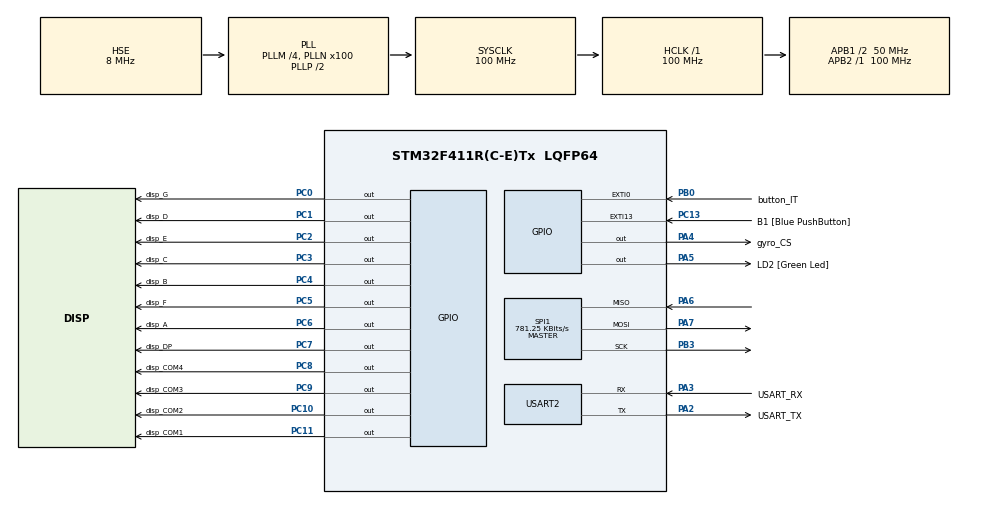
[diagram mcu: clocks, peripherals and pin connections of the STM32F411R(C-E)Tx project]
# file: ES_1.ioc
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Dma.Request0=SPI1_TX
Dma.Request1=SPI1_RX
Dma.SPI1_RX.1.Direction=DMA_PERIPH_TO_MEMORY
Dma.SPI1_RX.1.FIFOMode=DMA_FIFOMODE_DISABLE
Dma.SPI1_RX.1.Instance=DMA2_Stream0
Dma.SPI1_RX.1.MemDataAlignment=DMA_MDATAALIGN_HALFWORD
Dma.SPI1_RX.1.MemInc=DMA_MINC_ENABLE
Dma.SPI1_RX.1.Mode=DMA_NORMAL
Dma.SPI1_RX.1.PeriphDataAlignment=DMA_PDATAALIGN_HALFWORD
Dma.SPI1_RX.1.PeriphInc=DMA_PINC_DISABLE
Dma.SPI1_RX.1.Priority=DMA_PRIORITY_LOW
Dma.SPI1_TX.0.Direction=DMA_MEMORY_TO_PERIPH
Dma.SPI1_TX.0.FIFOMode=DMA_FIFOMODE_DISABLE
Dma.SPI1_TX.0.Instance=DMA2_Stream2
Dma.SPI1_TX.0.MemDataAlignment=DMA_MDATAALIGN_HALFWORD
Dma.SPI1_TX.0.MemInc=DMA_MINC_ENABLE
Dma.SPI1_TX.0.Mode=DMA_NORMAL
Dma.SPI1_TX.0.PeriphDataAlignment=DMA_PDATAALIGN_HALFWORD
Dma.SPI1_TX.0.PeriphInc=DMA_PINC_DISABLE
Dma.SPI1_TX.0.Priority=DMA_PRIORITY_LOW
Mcu.Family=STM32F4
Mcu.Name=STM32F411R(C-E)Tx
Mcu.Package=LQFP64
NVIC.DMA2_Stream0_IRQn=true\:0\:0\:false\:false\:true\:false\:true
NVIC.DMA2_Stream2_IRQn=true\:0\:0\:false\:false\:true\:false\:true
NVIC.EXTI0_IRQn=true\:0\:0\:false\:false\:true\:true\:true
NVIC.PriorityGroup=NVIC_PRIORITYGROUP_4
NVIC.TIM1_UP_TIM10_IRQn=true\:0\:0\:false\:false\:true\:true\:true
PA13.GPIO_Label=TMS
PA13.Mode=Serial_Wire
PA13.Signal=SYS_JTMS-SWDIO
PA14.GPIO_Label=TCK
PA14.Mode=Serial_Wire
PA14.Signal=SYS_JTCK-SWCLK
PA2.GPIO_Label=USART_TX
PA2.Mode=Asynchronous
PA2.Signal=USART2_TX
PA3.GPIO_Label=USART_RX
PA3.Mode=Asynchronous
PA3.Signal=USART2_RX
PA4.GPIO_Label=gyro_CS
PA4.Signal=GPIO_Output
PA5.GPIO_Label=LD2 [Green Led]
PA5.Signal=GPIO_Output
PA6.Mode=Full_Duplex_Master
PA6.Signal=SPI1_MISO
PA7.Mode=Full_Duplex_Master
PA7.Signal=SPI1_MOSI
PB0.GPIO_Label=button_IT
PB0.GPIO_ModeDefaultEXTI=GPIO_MODE_IT_RISING
PB0.GPIO_PuPd=GPIO_PULLUP
PB0.Signal=GPXTI0
PB3.Mode=Full_Duplex_Master
PB3.Signal=SPI1_SCK
PC0.GPIO_Label=disp_G
PC0.Signal=GPIO_Output
PC1.GPIO_Label=disp_D
PC1.Signal=GPIO_Output
PC10.GPIO_Label=disp_COM2
PC10.Signal=GPIO_Output
PC11.GPIO_Label=disp_COM1
PC11.Signal=GPIO_Output
PC13-ANTI_TAMP.GPIO_Label=B1 [Blue PushButton]
PC13-ANTI_TAMP.GPIO_ModeDefaultEXTI=GPIO_MODE_IT_FALLING
PC13-ANTI_TAMP.Signal=GPXTI13
PC14-OSC32_IN.Mode=LSE-External-Oscillator
PC14-OSC32_IN.Signal=RCC_OSC32_IN
PC15-OSC32_OUT.Mode=LSE-External-Oscillator
PC15-OSC32_OUT.Signal=RCC_OSC32_OUT
PC2.GPIO_Label=disp_E
PC2.Signal=GPIO_Output
PC3.GPIO_Label=disp_C
PC3.Signal=GPIO_Output
PC4.GPIO_Label=disp_B
PC4.Signal=GPIO_Output
PC5.GPIO_Label=disp_F
PC5.Signal=GPIO_Output
PC6.GPIO_Label=disp_A
PC6.Signal=GPIO_Output
PC7.GPIO_Label=disp_DP
PC7.Signal=GPIO_Output
PC8.GPIO_Label=disp_COM4
PC8.Signal=GPIO_Output
PC9.GPIO_Label=disp_COM3
PC9.Signal=GPIO_Output
PH0\ -\ OSC_IN.Mode=HSE-External-Clock-Source
PH0\ -\ OSC_IN.Signal=RCC_OSC_IN
PH1\ -\ OSC_OUT.Mode=HSE-External-Clock-Source
PH1\ -\ OSC_OUT.Signal=RCC_OSC_OUT
ProjectManager.HeapSize=0x200
ProjectManager.StackSize=0x400
ProjectManager.TargetToolchain=STM32CubeIDE
RCC.48MHZClocksFreq_Value=50000000
RCC.AHBFreq_Value=100000000
RCC.APB1CLKDivider=RCC_HCLK_DIV2
RCC.APB1Freq_Value=50000000
RCC.APB1TimFreq_Value=100000000
RCC.APB2Freq_Value=100000000
RCC.APB2TimFreq_Value=100000000
RCC.CortexFreq_Value=100000000
RCC.FLatency-AdvancedSettings=FLASH_LATENCY_3
RCC.HCLKFreq_Value=100000000
RCC.HSE_VALUE=8000000
RCC.HSI_VALUE=16000000
RCC.PLLM=4
RCC.PLLN=100
RCC.PLLSourceVirtual=RCC_PLLSOURCE_HSE
RCC.SYSCLKFreq_VALUE=100000000
RCC.SYSCLKSource=RCC_SYSCLKSOURCE_PLLCLK
RCC.VCOOutputFreq_Value=200000000
SPI1.BaudRatePrescaler=SPI_BAUDRATEPRESCALER_128
SPI1.CLKPhase=SPI_PHASE_2EDGE
SPI1.CLKPolarity=SPI_POLARITY_HIGH
SPI1.CalculateBaudRate=781.25 KBits/s
SPI1.DataSize=SPI_DATASIZE_16BIT
SPI1.Direction=SPI_DIRECTION_2LINES
SPI1.Mode=SPI_MODE_MASTER
SPI1.TIMode=SPI_TIMODE_DISABLE
SPI1.VirtualType=VM_MASTER
TIM10.AutoReloadPreload=TIM_AUTORELOAD_PRELOAD_DISABLE
TIM10.Period=49999
TIM10.Prescaler=9
USART2.VirtualMode=VM_ASYNC
VP_TIM10_VS_ClockSourceINT.Mode=Enable_Timer
board=NUCLEO-F411RE

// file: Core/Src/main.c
/* USER CODE BEGIN Header */
/**
  ******************************************************************************
  * @file           : main.c
  * @brief          : Main program body
  ******************************************************************************
  * @attention
  *
  * <h2><center>&copy; Copyright (c) 2020 STMicroelectronics.
  * All rights reserved.</center></h2>
  *
  * This software component is licensed by ST under BSD 3-Clause license,
  * the "License"; You may not use this file except in compliance with the
  * License. You may obtain a copy of the License at:
  *                        opensource.org/licenses/BSD-3-Clause
  *
  ******************************************************************************
  */
/* USER CODE END Header */

#include "main.h"

/* USER CODE BEGIN Includes */
#include<stdio.h>
/* USER CODE END Includes */

/* USER CODE BEGIN PD */
#define FilterN 50
/* USER CODE END PD */

SPI_HandleTypeDef hspi1;
DMA_HandleTypeDef hdma_spi1_tx;
DMA_HandleTypeDef hdma_spi1_rx;

TIM_HandleTypeDef htim10;

UART_HandleTypeDef huart2;

/* USER CODE BEGIN PV */
GPIO_PinState disp_state [4][8];

const uint16_t  setup = 0x20C7; //PD- 1 power delivery - 0-off / 1-on
								//DR- 1 data rate      - 0-100Hz / 1-400hz
								//FS- 0 full scale     - 0-2G range / 1-9G range
								//0-  0 null reg       - must remain 0
								//    C
								//-------------------------------------------------
								//0-  0 null reg       - must remain 0
								//Zen-1 enable Z axis  - 0-off / 1-on
								//Yen-1 enable Y axis  - 0-off / 1-on
								//Xen-1 enable X axis  - 0-off / 1-on
								//    7

const uint16_t  tx_buffer[3] ={0xE900, 0x0000, 0x0000};
volatile int8_t rx_buffer [6];

volatile uint8_t active_axis = 0;
volatile int gyro_read[3];

volatile char msg[50];

char display[4];
volatile int size;

volatile int cnt = 0;
volatile int8_t x_reg[FilterN];
volatile int8_t y_reg[FilterN];
volatile int8_t z_reg[FilterN];

volatile int16_t x_sum=0;
volatile int16_t y_sum=0;
volatile int16_t z_sum=0;

volatile uint8_t index = 0;

/* USER CODE END PV */

void SystemClock_Config(void);
static void MX_GPIO_Init(void);
static void MX_DMA_Init(void);
static void MX_SPI1_Init(void);
static void MX_TIM10_Init(void);
static void MX_USART2_UART_Init(void);
/* USER CODE BEGIN PFP */

void disp_buffer_update(const uint8_t com, const char digit){
  if(com >= 0 && com < 4){
    switch (digit){

    case '0':  //put 0 on <com> port of display buffer
      disp_state[com][0] = GPIO_PIN_SET;
      disp_state[com][1] = GPIO_PIN_SET;
      disp_state[com][2] = GPIO_PIN_SET;
      disp_state[com][3] = GPIO_PIN_SET;
      disp_state[com][4] = GPIO_PIN_SET;
      disp_state[com][5] = GPIO_PIN_SET;
      disp_state[com][6] = GPIO_PIN_RESET;
      break;

    case '1':  //put 1 on <com> port of display buffer
      disp_state[com][0] = GPIO_PIN_RESET;
      disp_state[com][1] = GPIO_PIN_SET;
      disp_state[com][2] = GPIO_PIN_SET;
      disp_state[com][3] = GPIO_PIN_RESET;
      disp_state[com][4] = GPIO_PIN_RESET;
      disp_state[com][5] = GPIO_PIN_RESET;
      disp_state[com][6] = GPIO_PIN_RESET;
      break;

    case '2':  //put 2 on <com> port of display buffer
      disp_state[com][0] = GPIO_PIN_SET;
      disp_state[com][1] = GPIO_PIN_SET;
      disp_state[com][2] = GPIO_PIN_RESET;
      disp_state[com][3] = GPIO_PIN_SET;
      disp_state[com][4] = GPIO_PIN_SET;
      disp_state[com][5] = GPIO_PIN_RESET;
      disp_state[com][6] = GPIO_PIN_SET;
      break;

    case '3':  //put 3 on <com> port of display buffer
      disp_state[com][0] = GPIO_PIN_SET;
      disp_state[com][1] = GPIO_PIN_SET;
      disp_state[com][2] = GPIO_PIN_SET;
      disp_state[com][3] = GPIO_PIN_SET;
      disp_state[com][4] = GPIO_PIN_RESET;
      disp_state[com][5] = GPIO_PIN_RESET;
      disp_state[com][6] = GPIO_PIN_SET;
      break;

    case '4':  //put 4 on <com> port of display buffer
      disp_state[com][0] = GPIO_PIN_RESET;
      disp_state[com][1] = GPIO_PIN_SET;
      disp_state[com][2] = GPIO_PIN_SET;
      disp_state[com][3] = GPIO_PIN_RESET;
      disp_state[com][4] = GPIO_PIN_RESET;
      disp_state[com][5] = GPIO_PIN_SET;
      disp_state[com][6] = GPIO_PIN_SET;
      break;

    case '5':  //put 5 on <com> port of display buffer
      disp_state[com][0] = GPIO_PIN_SET;
      disp_state[com][1] = GPIO_PIN_RESET;
      disp_state[com][2] = GPIO_PIN_SET;
      disp_state[com][3] = GPIO_PIN_SET;
      disp_state[com][4] = GPIO_PIN_RESET;
      disp_state[com][5] = GPIO_PIN_SET;
      disp_state[com][6] = GPIO_PIN_SET;
      break;

    case '6':  //put 6 on <com> port of display buffer
      disp_state[com][0] = GPIO_PIN_SET;
      disp_state[com][1] = GPIO_PIN_RESET;
      disp_state[com][2] = GPIO_PIN_SET;
      disp_state[com][3] = GPIO_PIN_SET;
      disp_state[com][4] = GPIO_PIN_SET;
      disp_state[com][5] = GPIO_PIN_SET;
      disp_state[com][6] = GPIO_PIN_SET;
      break;

    case '7':  //put 7 on <com> port of display buffer
      disp_state[com][0] = GPIO_PIN_SET;
      disp_state[com][1] = GPIO_PIN_SET;
      disp_state[com][2] = GPIO_PIN_SET;
      disp_state[com][3] = GPIO_PIN_RESET;
      disp_state[com][4] = GPIO_PIN_RESET;
      disp_state[com][5] = GPIO_PIN_RESET;
      disp_state[com][6] = GPIO_PIN_RESET;
      break;

    case '8':  //put 8 on <com> port of display buffer
      disp_state[com][0] = GPIO_PIN_SET;
      disp_state[com][1] = GPIO_PIN_SET;
      disp_state[com][2] = GPIO_PIN_SET;
      disp_state[com][3] = GPIO_PIN_SET;
      disp_state[com][4] = GPIO_PIN_SET;
      disp_state[com][5] = GPIO_PIN_SET;
      disp_state[com][6] = GPIO_PIN_SET;
      break;

    case '9':  //put 9 on <com> port of display buffer
      disp_state[com][0] = GPIO_PIN_SET;
      disp_state[com][1] = GPIO_PIN_SET;
      disp_state[com][2] = GPIO_PIN_SET;
      disp_state[com][3] = GPIO_PIN_SET;
      disp_state[com][4] = GPIO_PIN_RESET;
      disp_state[com][5] = GPIO_PIN_SET;
      disp_state[com][6] = GPIO_PIN_SET;
      break;

    case 'o':  //put o on <com> port of display buffer
      disp_state[com][0] = GPIO_PIN_RESET;
	  disp_state[com][1] = GPIO_PIN_RESET;
	  disp_state[com][2] = GPIO_PIN_SET;
	  disp_state[com][3] = GPIO_PIN_SET;
	  disp_state[com][4] = GPIO_PIN_SET;
	  disp_state[com][5] = GPIO_PIN_RESET;
	  disp_state[com][6] = GPIO_PIN_SET;
	  break;

    case '-':  //put '-' on <com> port of display buffer
      disp_state[com][0] = GPIO_PIN_RESET;
      disp_state[com][1] = GPIO_PIN_RESET;
      disp_state[com][2] = GPIO_PIN_RESET;
      disp_state[com][3] = GPIO_PIN_RESET;
      disp_state[com][4] = GPIO_PIN_RESET;
      disp_state[com][5] = GPIO_PIN_RESET;
      disp_state[com][6] = GPIO_PIN_SET;
      break;

    default:
      disp_state[com][0] = GPIO_PIN_RESET;
      disp_state[com][1] = GPIO_PIN_RESET;
      disp_state[com][2] = GPIO_PIN_RESET;
      disp_state[com][3] = GPIO_PIN_RESET;
      disp_state[com][4] = GPIO_PIN_RESET;
      disp_state[com][5] = GPIO_PIN_RESET;
      disp_state[com][6] = GPIO_PIN_RESET;
      break;
    }
  }
}

void put_dot(uint8_t place){
	switch(place){
	case 0:
		disp_state[0][7] = GPIO_PIN_SET;
		disp_state[1][7] = GPIO_PIN_RESET;
		disp_state[2][7] = GPIO_PIN_RESET;
		disp_state[3][7] = GPIO_PIN_RESET;
		break;

	case 1:
		disp_state[0][7] = GPIO_PIN_RESET;
		disp_state[1][7] = GPIO_PIN_SET;
		disp_state[2][7] = GPIO_PIN_RESET;
		disp_state[3][7] = GPIO_PIN_RESET;
		break;

	case 2:
		disp_state[0][7] = GPIO_PIN_RESET;
		disp_state[1][7] = GPIO_PIN_RESET;
		disp_state[2][7] = GPIO_PIN_SET;
		disp_state[3][7] = GPIO_PIN_RESET;
		break;

	case 3:
		disp_state[0][7] = GPIO_PIN_RESET;
		disp_state[1][7] = GPIO_PIN_RESET;
		disp_state[2][7] = GPIO_PIN_RESET;
		disp_state[3][7] = GPIO_PIN_SET;
		break;

	default:
		disp_state[0][7] = GPIO_PIN_RESET;
		disp_state[1][7] = GPIO_PIN_RESET;
		disp_state[2][7] = GPIO_PIN_RESET;
		disp_state[3][7] = GPIO_PIN_RESET;
		break;
	}
}

void switch_disp_com(){
	static uint8_t active_com = 0;

	++active_com;
	if(active_com > 3) active_com = 0;

	switch(active_com){
	case 0:
		HAL_GPIO_WritePin(disp_COM1_GPIO_Port, disp_COM1_Pin, GPIO_PIN_RESET);
		HAL_GPIO_WritePin(disp_COM2_GPIO_Port, disp_COM2_Pin, GPIO_PIN_SET);
		HAL_GPIO_WritePin(disp_COM3_GPIO_Port, disp_COM3_Pin, GPIO_PIN_SET);
		HAL_GPIO_WritePin(disp_COM4_GPIO_Port, disp_COM4_Pin, GPIO_PIN_SET);
		break;

	case 1:
		HAL_GPIO_WritePin(disp_COM1_GPIO_Port, disp_COM1_Pin, GPIO_PIN_SET);
		HAL_GPIO_WritePin(disp_COM2_GPIO_Port, disp_COM2_Pin, GPIO_PIN_RESET);
		HAL_GPIO_WritePin(disp_COM3_GPIO_Port, disp_COM3_Pin, GPIO_PIN_SET);
		HAL_GPIO_WritePin(disp_COM4_GPIO_Port, disp_COM4_Pin, GPIO_PIN_SET);
		break;

	case 2:
		HAL_GPIO_WritePin(disp_COM1_GPIO_Port, disp_COM1_Pin, GPIO_PIN_SET);
		HAL_GPIO_WritePin(disp_COM2_GPIO_Port, disp_COM2_Pin, GPIO_PIN_SET);
		HAL_GPIO_WritePin(disp_COM3_GPIO_Port, disp_COM3_Pin, GPIO_PIN_RESET);
		HAL_GPIO_WritePin(disp_COM4_GPIO_Port, disp_COM4_Pin, GPIO_PIN_SET);
		break;

	case 3:
		HAL_GPIO_WritePin(disp_COM1_GPIO_Port, disp_COM1_Pin, GPIO_PIN_SET);
		HAL_GPIO_WritePin(disp_COM2_GPIO_Port, disp_COM2_Pin, GPIO_PIN_SET);
		HAL_GPIO_WritePin(disp_COM3_GPIO_Port, disp_COM3_Pin, GPIO_PIN_SET);
		HAL_GPIO_WritePin(disp_COM4_GPIO_Port, disp_COM4_Pin, GPIO_PIN_RESET);
		break;

	default:
		HAL_GPIO_WritePin(disp_COM1_GPIO_Port, disp_COM1_Pin, GPIO_PIN_RESET);
		HAL_GPIO_WritePin(disp_COM2_GPIO_Port, disp_COM2_Pin, GPIO_PIN_RESET);
		HAL_GPIO_WritePin(disp_COM3_GPIO_Port, disp_COM3_Pin, GPIO_PIN_RESET);
		HAL_GPIO_WritePin(disp_COM4_GPIO_Port, disp_COM4_Pin, GPIO_PIN_RESET);
		break;

	}
	HAL_GPIO_WritePin(disp_A_GPIO_Port, disp_A_Pin, disp_state[active_com][0]);
	HAL_GPIO_WritePin(disp_B_GPIO_Port, disp_B_Pin, disp_state[active_com][1]);
	HAL_GPIO_WritePin(disp_C_GPIO_Port, disp_C_Pin, disp_state[active_com][2]);
	HAL_GPIO_WritePin(disp_D_GPIO_Port, disp_D_Pin, disp_state[active_com][3]);
	HAL_GPIO_WritePin(disp_E_GPIO_Port, disp_E_Pin, disp_state[active_com][4]);
	HAL_GPIO_WritePin(disp_F_GPIO_Port, disp_F_Pin, disp_state[active_com][5]);
	HAL_GPIO_WritePin(disp_G_GPIO_Port, disp_G_Pin, disp_state[active_com][6]);
	HAL_GPIO_WritePin(disp_DP_GPIO_Port, disp_DP_Pin, disp_state[active_com][7]);
}

void HAL_TIM_PeriodElapsedCallback(TIM_HandleTypeDef *htim){
	uint8_t i = 0;
	if(htim->Instance==TIM10){

		switch_disp_com();

		x_reg[index] = rx_buffer[0];
		y_reg[index] = rx_buffer[2];
		z_reg[index] = rx_buffer[4];

		if(++index > FilterN-1) index = 0;

		x_sum=0;
		y_sum=0;
		z_sum=0;
		for(i=0; i<FilterN; i++){
			x_sum += x_reg[i];
			y_sum += y_reg[i];
			z_sum += z_reg[i];
		}

		//X - axis
		gyro_read[0] = ((2*x_sum/FilterN)/1.27);

		//Y - axis
		gyro_read[1] = ((2*y_sum/FilterN)/1.27);

		//Z - axis
		gyro_read[2] = ((2*z_sum/FilterN)/1.27);

		if(cnt){
			sprintf(display, "o5 %d", active_axis);
			put_dot((uint8_t)5);
			--cnt;
		}
		else{
			if(gyro_read[active_axis] < 0)
				sprintf(display, "%04d", gyro_read[active_axis]);
			else
				sprintf(display, " %03d", gyro_read[active_axis]);

			put_dot((uint8_t) 1);
		}
		disp_buffer_update(0, display[0]);
		disp_buffer_update(1, display[1]);
		disp_buffer_update(2, display[2]);
		disp_buffer_update(3, display[3]);

		HAL_GPIO_WritePin(gyro_CS_GPIO_Port, gyro_CS_Pin, GPIO_PIN_SET);
		HAL_GPIO_WritePin(gyro_CS_GPIO_Port, gyro_CS_Pin, GPIO_PIN_RESET);
		HAL_SPI_TransmitReceive_DMA(&hspi1, tx_buffer, rx_buffer, 3);
	}
}

void HAL_GPIO_EXTI_Callback(uint16_t GPIO_Pin){
  if(GPIO_Pin == button_IT_Pin){

//	  HAL_Delay(20);
	  if(HAL_GPIO_ReadPin(button_IT_GPIO_Port, button_IT_Pin)==GPIO_PIN_SET){
		  cnt = 200;
		  active_axis += 1;
		  if(active_axis > 2) active_axis = 0;
	  }

  }
}

/* USER CODE END PFP */

int main(void)
{

  /* MCU Configuration--------------------------------------------------------*/

  /* Reset of all peripherals, Initializes the Flash interface and the Systick. */
  HAL_Init();

  /* Configure the system clock */
  SystemClock_Config();

  /* Initialize all configured peripherals */
  MX_GPIO_Init();
  MX_DMA_Init();
  MX_SPI1_Init();
  MX_TIM10_Init();
  MX_USART2_UART_Init();
  /* USER CODE BEGIN 2 */

  HAL_TIM_Base_Start_IT(&htim10);

  HAL_GPIO_WritePin(gyro_CS_GPIO_Port, gyro_CS_Pin, GPIO_PIN_RESET);
  HAL_SPI_Transmit(&hspi1, &setup, 1, 1000);
  HAL_GPIO_WritePin(gyro_CS_GPIO_Port, gyro_CS_Pin, GPIO_PIN_SET);

  /* USER CODE END 2 */

  /* Infinite loop */
  /* USER CODE BEGIN WHILE */
  while (1)
  {

	  size = sprintf(msg, "[X]: %+05dG, [Y]: %+05dG, [Z]: %+05dG\n\r",
				 	 gyro_read[0],
					 gyro_read[1],
					 gyro_read[2] );

	  msg[ 6]=msg[ 7]; msg[ 7]='.';
	  msg[19]=msg[20]; msg[20]='.';
	  msg[32]=msg[33]; msg[33]='.';

	  HAL_UART_Transmit(&huart2, msg, size, 100);

	  HAL_Delay(250);
    /* USER CODE END WHILE */

  }
}

void SystemClock_Config(void)
{
  RCC_OscInitTypeDef RCC_OscInitStruct = {0};
  RCC_ClkInitTypeDef RCC_ClkInitStruct = {0};

  /** Configure the main internal regulator output voltage
  */
  __HAL_RCC_PWR_CLK_ENABLE();
  __HAL_PWR_VOLTAGESCALING_CONFIG(PWR_REGULATOR_VOLTAGE_SCALE1);
  /** Initializes the CPU, AHB and APB busses clocks
  */
  RCC_OscInitStruct.OscillatorType = RCC_OSCILLATORTYPE_HSE;
  RCC_OscInitStruct.HSEState = RCC_HSE_BYPASS;
  RCC_OscInitStruct.PLL.PLLState = RCC_PLL_ON;
  RCC_OscInitStruct.PLL.PLLSource = RCC_PLLSOURCE_HSE;
  RCC_OscInitStruct.PLL.PLLM = 4;
  RCC_OscInitStruct.PLL.PLLN = 100;
  RCC_OscInitStruct.PLL.PLLP = RCC_PLLP_DIV2;
  RCC_OscInitStruct.PLL.PLLQ = 4;
  if (HAL_RCC_OscConfig(&RCC_OscInitStruct) != HAL_OK)
  {
    Error_Handler();
  }
  /** Initializes the CPU, AHB and APB busses clocks
  */
  RCC_ClkInitStruct.ClockType = RCC_CLOCKTYPE_HCLK|RCC_CLOCKTYPE_SYSCLK
                              |RCC_CLOCKTYPE_PCLK1|RCC_CLOCKTYPE_PCLK2;
  RCC_ClkInitStruct.SYSCLKSource = RCC_SYSCLKSOURCE_PLLCLK;
  RCC_ClkInitStruct.AHBCLKDivider = RCC_SYSCLK_DIV1;
  RCC_ClkInitStruct.APB1CLKDivider = RCC_HCLK_DIV2;
  RCC_ClkInitStruct.APB2CLKDivider = RCC_HCLK_DIV1;

  if (HAL_RCC_ClockConfig(&RCC_ClkInitStruct, FLASH_LATENCY_3) != HAL_OK)
  {
    Error_Handler();
  }
}

static void MX_SPI1_Init(void)
{

  /* SPI1 parameter configuration*/
  hspi1.Instance = SPI1;
  hspi1.Init.Mode = SPI_MODE_MASTER;
  hspi1.Init.Direction = SPI_DIRECTION_2LINES;
  hspi1.Init.DataSize = SPI_DATASIZE_16BIT;
  hspi1.Init.CLKPolarity = SPI_POLARITY_HIGH;
  hspi1.Init.CLKPhase = SPI_PHASE_2EDGE;
  hspi1.Init.NSS = SPI_NSS_SOFT;
  hspi1.Init.BaudRatePrescaler = SPI_BAUDRATEPRESCALER_128;
  hspi1.Init.FirstBit = SPI_FIRSTBIT_MSB;
  hspi1.Init.TIMode = SPI_TIMODE_DISABLE;
  hspi1.Init.CRCCalculation = SPI_CRCCALCULATION_DISABLE;
  hspi1.Init.CRCPolynomial = 10;
  if (HAL_SPI_Init(&hspi1) != HAL_OK)
  {
    Error_Handler();
  }

}

static void MX_TIM10_Init(void)
{

  htim10.Instance = TIM10;
  htim10.Init.Prescaler = 9;
  htim10.Init.CounterMode = TIM_COUNTERMODE_UP;
  htim10.Init.Period = 49999;
  htim10.Init.ClockDivision = TIM_CLOCKDIVISION_DIV1;
  htim10.Init.AutoReloadPreload = TIM_AUTORELOAD_PRELOAD_DISABLE;
  if (HAL_TIM_Base_Init(&htim10) != HAL_OK)
  {
    Error_Handler();
  }

}

static void MX_USART2_UART_Init(void)
{

  huart2.Instance = USART2;
  huart2.Init.BaudRate = 115200;
  huart2.Init.WordLength = UART_WORDLENGTH_8B;
  huart2.Init.StopBits = UART_STOPBITS_1;
  huart2.Init.Parity = UART_PARITY_NONE;
  huart2.Init.Mode = UART_MODE_TX_RX;
  huart2.Init.HwFlowCtl = UART_HWCONTROL_NONE;
  huart2.Init.OverSampling = UART_OVERSAMPLING_16;
  if (HAL_UART_Init(&huart2) != HAL_OK)
  {
    Error_Handler();
  }

}

static void MX_DMA_Init(void)
{

  /* DMA controller clock enable */
  __HAL_RCC_DMA2_CLK_ENABLE();

  /* DMA interrupt init */
  /* DMA2_Stream0_IRQn interrupt configuration */
  HAL_NVIC_SetPriority(DMA2_Stream0_IRQn, 0, 0);
  HAL_NVIC_EnableIRQ(DMA2_Stream0_IRQn);
  /* DMA2_Stream2_IRQn interrupt configuration */
  HAL_NVIC_SetPriority(DMA2_Stream2_IRQn, 0, 0);
  HAL_NVIC_EnableIRQ(DMA2_Stream2_IRQn);

}

static void MX_GPIO_Init(void)
{
  GPIO_InitTypeDef GPIO_InitStruct = {0};

  /* GPIO Ports Clock Enable */
  __HAL_RCC_GPIOC_CLK_ENABLE();
  __HAL_RCC_GPIOH_CLK_ENABLE();
  __HAL_RCC_GPIOA_CLK_ENABLE();
  __HAL_RCC_GPIOB_CLK_ENABLE();

  /*Configure GPIO pin Output Level */
  HAL_GPIO_WritePin(GPIOC, disp_G_Pin|disp_D_Pin|disp_E_Pin|disp_C_Pin
                          |disp_B_Pin|disp_F_Pin|disp_A_Pin|disp_DP_Pin
                          |disp_COM4_Pin|disp_COM3_Pin|disp_COM2_Pin|disp_COM1_Pin, GPIO_PIN_RESET);

  /*Configure GPIO pin Output Level */
  HAL_GPIO_WritePin(GPIOA, gyro_CS_Pin|LD2_Pin, GPIO_PIN_RESET);

  /*Configure GPIO pin : B1_Pin */
  GPIO_InitStruct.Pin = B1_Pin;
  GPIO_InitStruct.Mode = GPIO_MODE_IT_FALLING;
  GPIO_InitStruct.Pull = GPIO_NOPULL;
  HAL_GPIO_Init(B1_GPIO_Port, &GPIO_InitStruct);

  /*Configure GPIO pins : disp_G_Pin disp_D_Pin disp_E_Pin disp_C_Pin
                           disp_B_Pin disp_F_Pin disp_A_Pin disp_DP_Pin
                           disp_COM4_Pin disp_COM3_Pin disp_COM2_Pin disp_COM1_Pin */
  GPIO_InitStruct.Pin = disp_G_Pin|disp_D_Pin|disp_E_Pin|disp_C_Pin
                          |disp_B_Pin|disp_F_Pin|disp_A_Pin|disp_DP_Pin
                          |disp_COM4_Pin|disp_COM3_Pin|disp_COM2_Pin|disp_COM1_Pin;
  GPIO_InitStruct.Mode = GPIO_MODE_OUTPUT_PP;
  GPIO_InitStruct.Pull = GPIO_NOPULL;
  GPIO_InitStruct.Speed = GPIO_SPEED_FREQ_LOW;
  HAL_GPIO_Init(GPIOC, &GPIO_InitStruct);

  /*Configure GPIO pins : gyro_CS_Pin LD2_Pin */
  GPIO_InitStruct.Pin = gyro_CS_Pin|LD2_Pin;
  GPIO_InitStruct.Mode = GPIO_MODE_OUTPUT_PP;
  GPIO_InitStruct.Pull = GPIO_NOPULL;
  GPIO_InitStruct.Speed = GPIO_SPEED_FREQ_LOW;
  HAL_GPIO_Init(GPIOA, &GPIO_InitStruct);

  /*Configure GPIO pin : button_IT_Pin */
  GPIO_InitStruct.Pin = button_IT_Pin;
  GPIO_InitStruct.Mode = GPIO_MODE_IT_RISING;
  GPIO_InitStruct.Pull = GPIO_PULLUP;
  HAL_GPIO_Init(button_IT_GPIO_Port, &GPIO_InitStruct);

  /* EXTI interrupt init*/
  HAL_NVIC_SetPriority(EXTI0_IRQn, 0, 0);
  HAL_NVIC_EnableIRQ(EXTI0_IRQn);

}

void Error_Handler(void)
{
}

/************************ (C) COPYRIGHT STMicroelectronics *****END OF FILE****/
